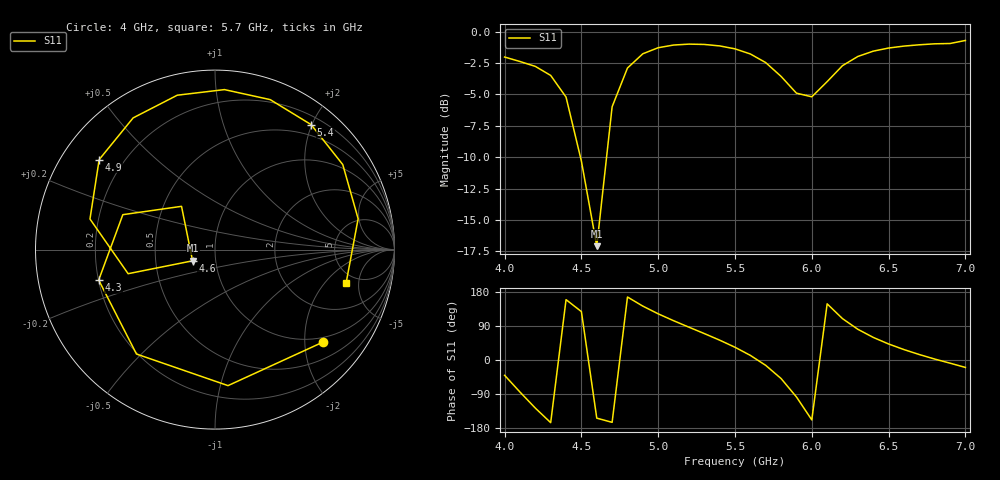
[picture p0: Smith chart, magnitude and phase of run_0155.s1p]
! Touchstone file exported from HFSS 2024.2.0
!  File:  C:/Users/wsak9/Desktop/Sim Fast/Widenad Patch/WP_AI_V1_sweep.aedt
!  Generated:  09:22:02 PM Oct 13, 2026
!  Design:  A1_model
!  Project:  WP_AI_V1_sweep
!  Setup:  Setup1
!  Solution:  Sweep
! Variables:
!  Air_gap = 3.75mm
!  Curve_Amp1 = 3.42
!  Curve_len1 = 1
!  Curve_pos = 12.35mm
!  Extra = 5.4mm
!  H_sub = 0.79mm
!  L_Patch = 20.7mm
!  L_Patch1 = 15.16mm
!  Sx = 1.93mm
!  Sy = 3.09mm
!  WS = 1.03mm
!  W_Patch = 20.52mm
!  W_Patch1 = 9.76mm
!Data is not renormalized
# GHz S MA
! Terminal data exported
! Port[1] = 1
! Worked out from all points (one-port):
!   31 points, 4 GHz to 7 GHz, reference per port
!   lowest |S11| = -17.1 dB at 4.6 GHz (marker M1), VSWR 1.32
!   |S11| at or under -10 dB: 4.494 GHz to 4.664 GHz (170.1 MHz wide, 3.71 % of centre)
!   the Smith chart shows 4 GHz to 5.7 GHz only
!   S11 on the Smith chart (normalised r, x): 4 GHz: 0.88, -2.44; 4.3 GHz: 0.20, -0.12; 4.6 GHz: 0.77, -0.10; 4.9 GHz: 0.11, +0.34; 5.4 GHz: 0.33, +1.99; 5.7 GHz: 4.06, -3.46
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4  0.7931 -40.4
4.1  0.7613 -84.5
4.2  0.7279 -126.9
4.3  0.6699 -165.3
4.4  0.5491 159.2
4.5  0.3048 127.7
4.6  0.1396 -153.4
4.7  0.5023 -164.5
4.8  0.7171 166.3
4.9  0.8173 142.2
5  0.864 121.9
5.1  0.8855 103.7
5.2  0.893 86.6
5.3  0.8904 69.8
5.4  0.8784 52.4
5.5  0.855 33.6
5.6  0.8158 12.2
5.7  0.7537 -14.1
5.8  0.6639 -48.9
5.9  0.5692 -97.5
6  0.5504 -158.0
6.1  0.6329 148.2
6.2  0.7328 109.1
6.3  0.7973 81.0
6.4  0.8371 59.6
6.5  0.8615 42.3
6.7  0.8876 14.4
7  0.9236 -19.6
